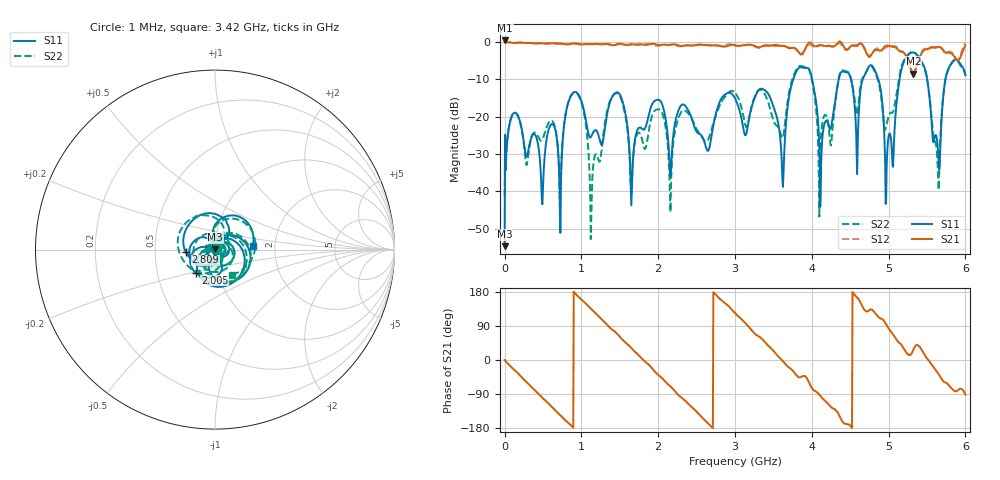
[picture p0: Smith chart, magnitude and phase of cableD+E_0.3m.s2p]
# GHZ S RI R 50.000000000000
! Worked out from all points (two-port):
!   1001 points, 1 MHz to 6 GHz, reference 50 ohm
!   highest |S21| = 0.38 dB at 6.999 MHz (marker M1); lowest = -8.5 dB at 5.322 GHz (marker M2)
!   |S21| within 3 dB of the highest: start of sweep to 3.825 GHz; 3.899 GHz to 4.703 GHz (803.7 MHz wide, 18.7 % of centre)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
!   lowest |S11| = -54.7 dB at 1 MHz (marker M3), VSWR 1.00, Z = 50.2 + j0.068 ohm
!   |S11| at or under -10 dB: start of sweep to 3.759 GHz; 4.004 GHz to 4.351 GHz (347.4 MHz wide, 8.32 % of centre); 4.866 GHz to 5.143 GHz (276.7 MHz wide, 5.53 % of centre)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
!   |S22| runs from -52.8 to -2.7 dB; largest |S21 - S12| = 0.09
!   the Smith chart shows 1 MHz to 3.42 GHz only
!   S11 on the Smith chart (normalised r, x): 1 MHz: 1.00, +0.00; 2.005 GHz: 0.78, -0.21; 2.809 GHz: 0.72, -0.02; 3.42 GHz: 1.53, +0.06
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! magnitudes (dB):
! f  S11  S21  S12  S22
! 1 MHz  -54.7  0.1  0.0  -41.3
! 6.999 MHz  -24.9  0.4  0.1  -25.1
! 115 MHz  -19.2  -0.3  -0.3  -19.2
! 486.9 MHz  -42.8  -0.4  -0.4  -26.3
! 1.003 GHz  -16.0  -0.6  -0.7  -16.3
! 1.129 GHz  -25.3  -0.6  -0.6  -47.5
! 1.417 GHz  -14.2  -0.9  -0.9  -14.2
! 1.657 GHz  -40.0  -0.7  -0.7  -37.9
! 2.005 GHz  -15.5  -0.9  -1.1  -18.0
! 2.161 GHz  -35.9  -0.8  -0.8  -45.6
! 2.809 GHz  -15.7  -1.1  -1.1  -16.7
! 3.001 GHz  -15.0  -0.9  -1.1  -13.7
! 3.42 GHz  -13.6  -1.0  -1.0  -15.4
! 3.618 GHz  -37.0  -1.1  -0.9  -25.8
! 4.002 GHz  -9.9  -0.5  -1.1  -10.2
! 4.116 GHz  -40.4  -0.9  -0.9  -26.4
! 4.764 GHz  -6.3  -3.8  -3.6  -6.5
! 5.004 GHz  -24.9  -1.1  -1.4  -19.7
! 5.322 GHz  -2.8  -8.5  -8.4  -2.7
! 5.64 GHz  -28.1  -1.4  -1.4  -34.1
! 5.766 GHz  -8.0  -2.9  -2.7  -7.9
! 6 GHz  -8.9  -1.0  -0.4  -8.8
